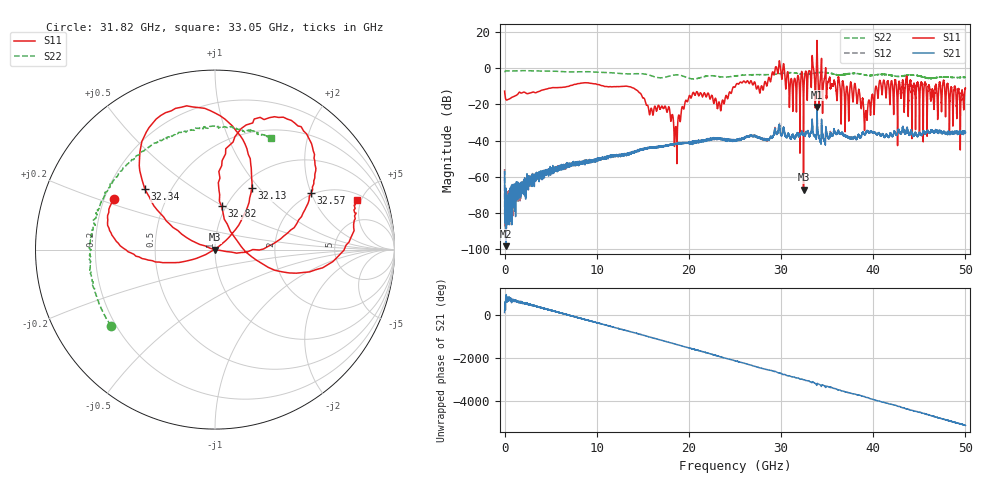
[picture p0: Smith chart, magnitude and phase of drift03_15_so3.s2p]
!Created with skrf (http://scikit-rf.org).
# Hz S RI R 50.0
!freq ReS11 ImS11 ReS21 ImS21 ReS12 ImS12 ReS22 ImS22
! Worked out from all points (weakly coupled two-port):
!   10001 points, 300 kHz to 50 GHz, reference 50 ohm
!   highest |S21| = -21.49 dB at 33.9 GHz (marker M1); lowest = -98.4 dB at 165.3 MHz (marker M2)
!   lowest |S11| = -67.2 dB at 32.44 GHz (marker M3), VSWR 1.00, Z = 50 - j0.0139 ohm
!   |S11| at or under -10 dB: start of sweep to 6.948 GHz; 13.32 GHz to 25.05 GHz (11.73 GHz wide, 61.1 % of centre); 38.07 GHz to 40.28 GHz (2.205 GHz wide, 5.63 % of centre) (the widest 3 of 62)
!   |S22| runs from -5.9 to -1.3 dB; largest |S21 - S12| = 0.0093
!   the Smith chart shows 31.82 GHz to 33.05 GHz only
!   S11 on the Smith chart (normalised r, x): 31.82 GHz: 0.24, +0.22; 32.13 GHz: 1.12, +0.91; 32.34 GHz: 0.36, +0.33; 32.57 GHz: 1.95, +2.00; 32.82 GHz: 0.95, +0.49; 33.05 GHz: 2.48, +4.59
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300000  -0.2112 -0.0978  -0.000725 0.00117  0.000869 0.00139  -0.7655 -0.1818
1.65299e8  -0.1181 0.0616  1.11e-05 4.74e-06  0.000106 0.000155  -0.8018 0.2673
1.530291e9  0.2031 0.0457  -8.74e-05 -0.000437  -0.000182 -0.000632  0.8485 0.0846
3.160281e9  -0.2186 -0.00815  8.81e-05 0.000947  0.000141 0.00113  -0.8447 -0.0244
4.665272e9  0.2634 0.061  2.52e-06 -0.00141  5.95e-05 -0.00127  0.8182 0.1414
8.33525e9  0.2839 -0.268  -0.00231 -0.000796  -0.00234 -0.000894  0.6006 -0.5365
9.585242e9  -0.3712 -0.0402  0.00127 0.0025  0.00143 0.00223  -0.7866 -0.078
1.123523e10  0.3055 0.0291  -0.00241 -0.00296  -0.00222 -0.00256  0.7561 0.0344
1.66702e10  0.0543 0.0756  0.00457 -0.00511  0.00462 -0.00482  -0.3548 0.4201
2.500015e10  -0.2964 -0.0469  0.00735 0.00671  0.00781 0.00681  -0.1873 -0.5825
3.050512e10  0.2558 -0.0846  -0.00224 0.0124  -0.00266 0.0127  0.7406 -0.0603
3.182011e10  -0.5651 0.2816  0.0115 -0.0102  0.0111 -0.00965  -0.5808 -0.4241
3.212511e10  0.2045 0.3434  -0.000306 -0.015  -0.000555 -0.015  -0.6987 0.00481
3.234011e10  -0.3902 0.3361  -0.00433 -0.0147  -0.00377 -0.0149  -0.6133 0.3185
3.243511e10  -0.000415 -0.000139  -0.00975 -0.0118  -0.009 -0.0117  -0.5273 0.4364
3.25701e10  0.5349 0.3153  -0.0101 -0.00949  -0.00984 -0.00933  -0.3708 0.5707
3.28151e10  0.0366 0.241  -0.0163 -0.00228  -0.0163 -0.00285  -0.0289 0.6861
3.30451e10  0.7903 0.2764  -0.0133 0.00112  -0.0129 0.00166  0.3097 0.624
3.33351e10  0.4296 -0.9856  -0.00482 0.0243  -0.00644 0.0244  0.614 0.364
3.38951e10  -0.8298 -5.805  0.0838 0.0089  0.076 0.00379  0.676 -0.3201
4.167005e10  -0.209 0.2817  -0.0114 -0.00435  -0.0113 -0.005  -0.6569 -0.0533
5e10  -0.1492 -0.233  -0.000636 -0.0166  0.000524 -0.0174  0.4633 -0.3213
